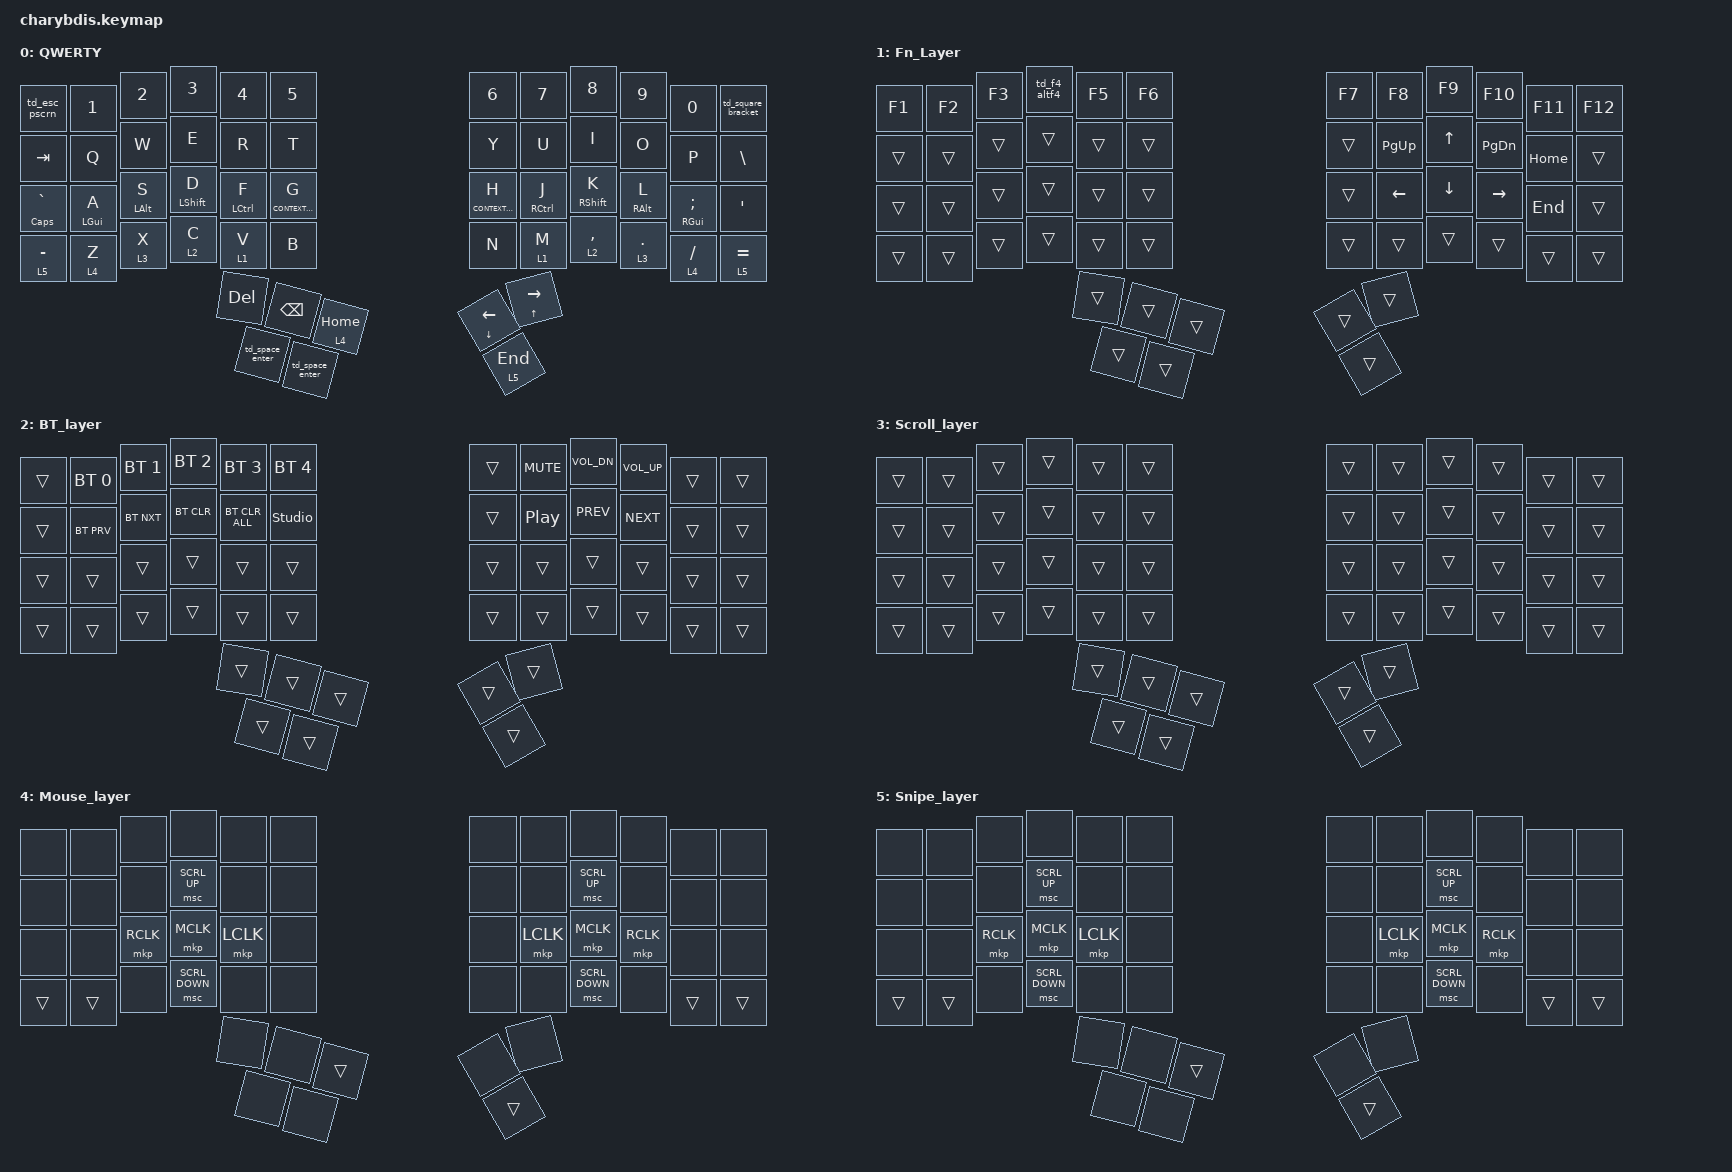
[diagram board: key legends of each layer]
#include <behaviors.dtsi>
#include <dt-bindings/zmk/bt.h>
#include <dt-bindings/zmk/keys.h>
#include <dt-bindings/zmk/pointing.h>
#include <dt-bindings/zmk/rgb.h>

&lt { flavor = "tap-preferred"; };

&mt { flavor = "tap-preferred"; };

/ {
    macros {
        To1_macro: To1_macro {
            compatible = "zmk,behavior-macro";
            label = "To1_macro";
            #binding-cells = <0>;
            bindings = <&rgb_ug RGB_EFF &rgb_ug RGB_COLOR_HSB(128,100,50) &to 1>;
        };

        To0_macro: To0_macro {
            compatible = "zmk,behavior-macro";
            label = "To0_macro";
            #binding-cells = <0>;
            bindings = <&rgb_ug RGB_EFR &to 0>;
        };

        To2_macro: To2_macro {
            compatible = "zmk,behavior-macro";
            label = "To2_macro";
            #binding-cells = <0>;
            bindings =
                <&to 2>,
                <&macro_wait_time 30>,
                <&rgb_ug RGB_COLOR_HSB(250,100,50)>;
        };

        ctrl_alt_del: ctrl_alt_del {
            compatible = "zmk,behavior-macro";
            #binding-cells = <0>;
            bindings = <&kp LC(LA(DELETE))>;
            label = "CTRL_ALT_DEL";
        };

        ctrl_alt_esc: ctrl_alt_esc {
            compatible = "zmk,behavior-macro";
            #binding-cells = <0>;
            bindings = <&kp LA(LC(ESCAPE))>;
            label = "CTRL_ALT_ESC";
        };
    };

    behaviors {
        td_square_bracket: td_square_bracket {
            compatible = "zmk,behavior-tap-dance";
            label = "TD_SQUARE_BRACKET";
            #binding-cells = <0>;
            bindings = <&kp LEFT_BRACKET>, <&kp RIGHT_BRACKET>;
        };

        mto: mto {
            compatible = "zmk,behavior-hold-tap";
            label = "Mod/Toggle";
            bindings = <&tog>, <&kp>;

            #binding-cells = <2>;
            flavor = "tap-preferred";
            tapping-term-ms = <200>;
        };

        td_esc_pscrn: td_esc_pscrn {
            compatible = "zmk,behavior-tap-dance";
            label = "Tap dance esc & printscreen";
            #binding-cells = <0>;
            bindings = <&kp ESCAPE>, <&kp PRINTSCREEN>;
        };

        td_f4_altf4: td_f4_altf4 {
            compatible = "zmk,behavior-tap-dance";
            label = "Tap dance F4 and Alt+F4";
            #binding-cells = <0>;
            bindings = <&kp F4>, <&kp LA(F4)>;
        };

        td_space_enter: td_space_enter {
            compatible = "zmk,behavior-tap-dance";
            label = "tap space double enter";
            #binding-cells = <0>;
            bindings = <&kp SPACE>, <&kp ENTER>;
        };
    };

    keymap {
        compatible = "zmk,keymap";

        QWERTY {
            bindings = <
&td_esc_pscrn       &kp N1          &kp N2          &kp N3            &kp N4              &kp N5                      &kp N6                     &kp N7               &kp N8             &kp N9           &kp N0              &td_square_bracket
&kp TAB             &kp Q           &kp W           &kp E             &kp R               &kp T                       &kp Y                      &kp U                &kp I              &kp O            &kp P               &kp BSLH
&mt CAPSLOCK GRAVE  &mt LEFT_GUI A  &mt LEFT_ALT S  &mt LEFT_SHIFT D  &mt LEFT_CONTROL F  &mt K_CONTEXT_MENU G        &mt K_CONTEXT_MENU H       &mt RIGHT_CONTROL J  &mt RIGHT_SHIFT K  &mt RIGHT_ALT L  &mt RIGHT_GUI SEMI  &kp SQT
&lt 5 MINUS         &lt 4 Z         &lt 3 X         &lt 2 C           &lt 1 V             &kp B                       &kp N                      &lt 1 M              &lt 2 COMMA        &lt 3 DOT        &lt 4 FSLH          &lt 5 EQUAL
                                                    &lt 4 HOME        &td_space_enter     &kp DEL                     &kp BACKSPACE              &td_space_enter
                                                                      &lt 5 END           &mt UP_ARROW RIGHT_ARROW    &mt DOWN_ARROW LEFT_ARROW
            >;
        };

        Fn_Layer {
            bindings = <
&kp F1  &kp F2  &kp F3  &td_f4_altf4  &kp F5  &kp F6    &kp F7  &kp F8          &kp F9          &kp F10          &kp F11   &kp F12
&trans  &trans  &trans  &trans        &trans  &trans    &trans  &kp PAGE_UP     &kp UP_ARROW    &kp PAGE_DOWN    &kp HOME  &trans
&trans  &trans  &trans  &trans        &trans  &trans    &trans  &kp LEFT_ARROW  &kp DOWN_ARROW  &kp RIGHT_ARROW  &kp END   &trans
&trans  &trans  &trans  &trans        &trans  &trans    &trans  &trans          &trans          &trans           &trans    &trans
                        &trans        &trans  &trans    &trans  &trans
                                      &trans  &trans    &trans
            >;
        };

        BT_layer {
            bindings = <
&trans  &bt BT_SEL 0  &bt BT_SEL 1  &bt BT_SEL 2  &bt BT_SEL 3    &bt BT_SEL 4    &trans  &kp K_MUTE        &kp C_VOL_DN  &kp C_VOL_UP  &trans  &trans
&trans  &bt BT_PRV    &bt BT_NXT    &bt BT_CLR    &bt BT_CLR_ALL  &studio_unlock  &trans  &kp C_PLAY_PAUSE  &kp C_PREV    &kp C_NEXT    &trans  &trans
&trans  &trans        &trans        &trans        &trans          &trans          &trans  &trans            &trans        &trans        &trans  &trans
&trans  &trans        &trans        &trans        &trans          &trans          &trans  &trans            &trans        &trans        &trans  &trans
                                    &trans        &trans          &trans          &trans  &trans
                                                  &trans          &trans          &trans
            >;
        };

        Scroll_layer {
            bindings = <
&trans  &trans  &trans  &trans  &trans  &trans    &trans  &trans  &trans  &trans  &trans  &trans
&trans  &trans  &trans  &trans  &trans  &trans    &trans  &trans  &trans  &trans  &trans  &trans
&trans  &trans  &trans  &trans  &trans  &trans    &trans  &trans  &trans  &trans  &trans  &trans
&trans  &trans  &trans  &trans  &trans  &trans    &trans  &trans  &trans  &trans  &trans  &trans
                        &trans  &trans  &trans    &trans  &trans
                                &trans  &trans    &trans
            >;
        };

        Mouse_layer {
            bindings = <
&none   &none   &none      &none           &none      &none    &none  &none      &none           &none      &none   &none
&none   &none   &none      &msc SCRL_UP    &none      &none    &none  &none      &msc SCRL_UP    &none      &none   &none
&none   &none   &mkp RCLK  &mkp MCLK       &mkp LCLK  &none    &none  &mkp LCLK  &mkp MCLK       &mkp RCLK  &none   &none
&trans  &trans  &none      &msc SCRL_DOWN  &none      &none    &none  &none      &msc SCRL_DOWN  &none      &trans  &trans
                           &trans          &none      &none    &none  &none
                                           &trans     &none    &none
            >;
        };

        Snipe_layer {
            bindings = <
&none   &none   &none      &none           &none      &none    &none  &none      &none           &none      &none   &none
&none   &none   &none      &msc SCRL_UP    &none      &none    &none  &none      &msc SCRL_UP    &none      &none   &none
&none   &none   &mkp RCLK  &mkp MCLK       &mkp LCLK  &none    &none  &mkp LCLK  &mkp MCLK       &mkp RCLK  &none   &none
&trans  &trans  &none      &msc SCRL_DOWN  &none      &none    &none  &none      &msc SCRL_DOWN  &none      &trans  &trans
                           &trans          &none      &none    &none  &none
                                           &trans     &none    &none
            >;
        };
    };
};
